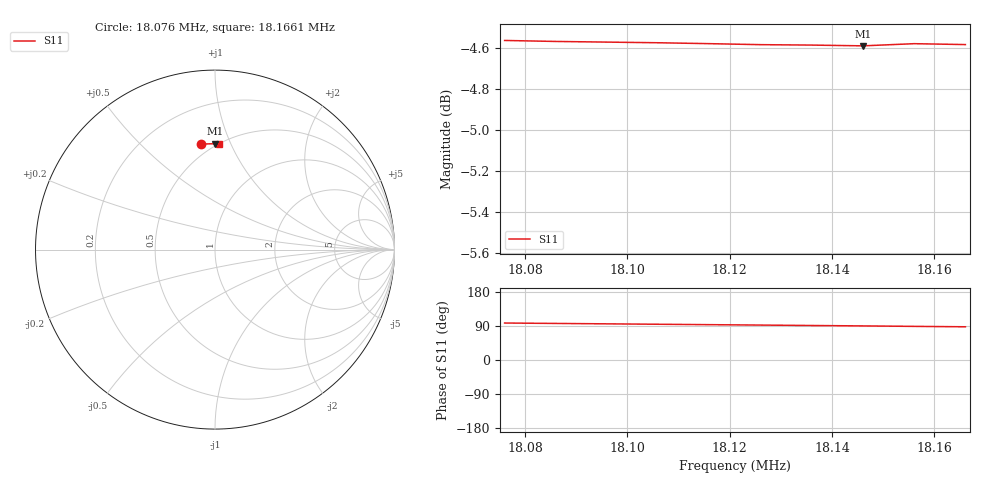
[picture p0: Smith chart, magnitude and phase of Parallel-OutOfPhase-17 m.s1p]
# HZ S RI R 50
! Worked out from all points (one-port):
!   10 points, 18.076 MHz to 18.1661 MHz, reference 50 ohm
!   lowest |S11| = -4.6 dB at 18.1461 MHz (marker M1), VSWR 3.87, Z = 24.2 + j43.8 ohm
!   |S11| at or under -10 dB: nowhere
1.807603e7  -0.0779 0.5861
1.808603e7  -0.0668 0.5871
1.809604e7  -0.0556 0.5881
1.810604e7  -0.0445 0.5888
1.811604e7  -0.0334 0.5892
1.812605e7  -0.0221 0.5894
1.813605e7  -0.0107 0.5896
1.814606e7  0.000578 0.5894
1.815606e7  0.013 0.59
1.816606e7  0.0243 0.5894
